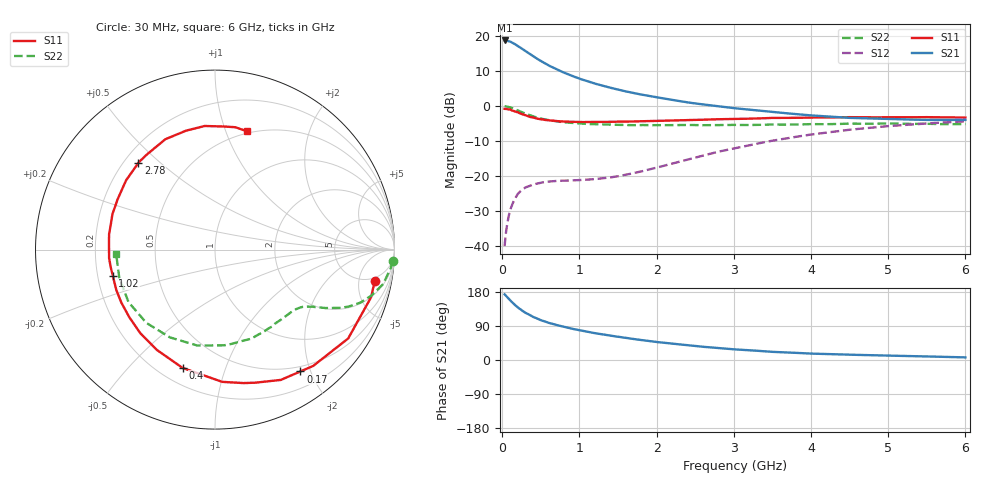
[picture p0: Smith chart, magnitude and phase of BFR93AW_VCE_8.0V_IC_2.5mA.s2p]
! Infineon Technologies  Discrete & RF Semiconductors
! BFR93AW
! VCE =  8.0 V,  IC =  2.5 mA
! Common Emitter S-Parameters:  Nov 2015
# GHz  S  MA  R  50
!  f  S11  S21  S12  S22
! GHz  MAG  ANG  MAG  ANG  MAG  ANG  MAG  ANG
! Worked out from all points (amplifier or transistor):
!   206 points, 30 MHz to 6 GHz, reference 50 ohm
!   highest |S21| = 18.7 dB at 30 MHz (marker M1)
!   |S21| within 3 dB of that: start of sweep to 298 MHz
!   unconditionally stable (mu >= 1): 1.162 GHz to 2.245 GHz
!   at 200 MHz: K = 0.18, MSG = 21.1 dB, |S12| = -25.1 dB
!   at 1.56 GHz: K = 1.14, MAG = 9.8 dB, |S12| = -19.8 dB
!   at 6 GHz: K = 0.96, MSG = 0.2 dB, |S12| = -4.4 dB
!   S11 on the Smith chart (normalised r, x): 30 MHz: 4.09, -8.17; 170 MHz: 0.43, -1.84; 400 MHz: 0.29, -0.72; 1.02 GHz: 0.26, -0.12; 2.78 GHz: 0.26, +0.43; 6 GHz: 0.48, +1.19
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0.03  0.9074 -11.2  8.571 173.2  0.01 83.4  0.9914 -3.7
0.05  0.9091 -17.0  8.554 168.5  0.0164 80.9  0.9847 -6.0
0.1  0.8921 -33.7  8.295 157.8  0.0322 71.8  0.9563 -11.6
0.15  0.8482 -49.8  7.764 147.5  0.0445 64.5  0.9105 -16.2
0.17  0.8289 -55.0  7.515 144.2  0.0488 61.6  0.8916 -17.6
0.2  0.8134 -63.2  7.191 138.9  0.0554 58.2  0.8643 -19.9
0.26  0.7606 -77.9  6.476 129.8  0.064 51.7  0.8085 -23.1
0.3  0.7379 -86.9  6.047 124.5  0.0688 48.6  0.776 -24.7
0.4  0.6835 -105.3  5.082 113.6  0.0757 42.5  0.7081 -27.4
0.5  0.646 -120.1  4.36 105.0  0.0806 39.2  0.6597 -29.2
0.6  0.6244 -131.9  3.772 98.1  0.0833 37.7  0.6265 -30.5
0.8  0.5995 -150.7  2.977 87.2  0.086 37.4  0.5829 -33.2
1.02  0.588 -165.4  2.406 77.7  0.0878 41.0  0.56 -36.4
1.04  0.5879 -166.5  2.367 76.9  0.0881 41.4  0.5582 -36.8
1.2  0.5921 -175.4  2.077 70.8  0.0903 45.4  0.5481 -39.7
1.5  0.5964 171.7  1.704 61.2  0.0993 54.1  0.5376 -46.0
2.02  0.6105 153.0  1.314 47.1  0.1332 66.9  0.5318 -58.5
2.78  0.6445 131.5  0.995 31.9  0.2196 71.6  0.5328 -78.9
3.1  0.6539 123.5  0.906 27.0  0.2611 69.7  0.5339 -87.8
4.1  0.6824 101.9  0.72 16.3  0.4033 58.2  0.5483 -120.4
5.1  0.6877 85.8  0.645 11.2  0.5236 42.8  0.5591 -151.7
6  0.6824 74.8  0.631 6.9  0.6035 29.8  0.5512 -177.4
